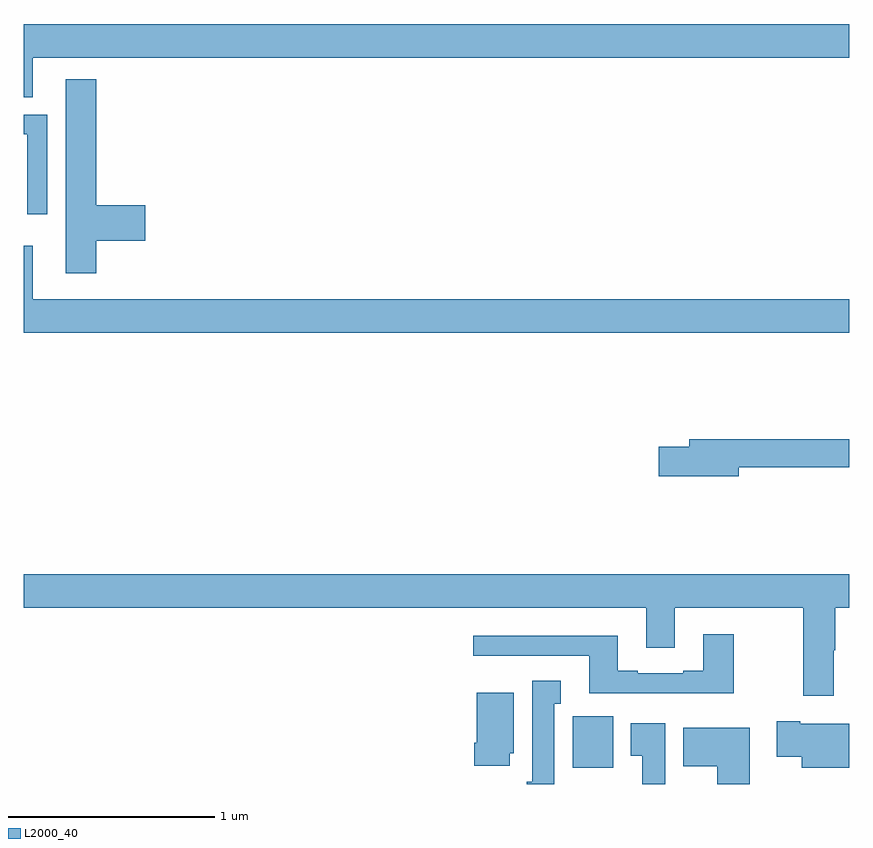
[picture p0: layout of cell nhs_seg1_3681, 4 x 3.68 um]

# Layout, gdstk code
import gdstk
lib = gdstk.Library(unit=1e-6, precision=1e-09)
def R(c, l, rs):  # rectangles x0, y0, x1, y1
    for r in rs: c.add(gdstk.rectangle(r[:2], r[2:], *l))
def P(c, l, *ps):  # polygons
    for p in ps: c.add(gdstk.Polygon(p, *l))
L2000_40 = (2000, 40)

nhs_seg1_3681 = lib.new_cell('nhs_seg1_3681')
R(nhs_seg1_3681, L2000_40, [(313.659,564.278,313.855,564.528)])
P(nhs_seg1_3681, L2000_40, [(311.044,567.716),(315,567.716),(315,567.88),(311,567.88),(311,567.526),(311.044,567.526)],
  [(311.351,566.831),(311.59,566.831),(311.59,567.002),(311.351,567.002),(311.351,567.613),(311.204,567.613),(311.204,566.673),(311.351,566.673)],
  [(311.115,567.441),(311,567.441),(311,567.345),(311.019,567.345),(311.019,566.958),(311.115,566.958)],
  [(315,566.548),(311.044,566.548),(311.044,566.806),(311,566.806),(311,566.384),(315,566.384)],
  [(314.464,565.732),(315,565.732),(315,565.868),(314.225,565.868),(314.225,565.832),(314.076,565.832),(314.076,565.69),(314.464,565.69)],
  [(314.923,564.848),(314.931,564.848),(314.931,565.052),(315,565.052),(315,565.216),(311,565.216),(311,565.052),(314.015,565.052),(314.015,564.858),(314.155,564.858),(314.155,565.052),(314.776,565.052),(314.776,564.627),(314.923,564.627)],
  [(314.439,564.925),(314.291,564.925),(314.291,564.748),(314.195,564.748),(314.195,564.735),(313.975,564.735),(313.975,564.748),(313.879,564.748),(313.879,564.916),(313.179,564.916),(313.179,564.819),(313.739,564.819),(313.739,564.638),(314.439,564.638)],
  [(313.57,564.587),(313.603,564.587),(313.603,564.7),(313.463,564.7),(313.463,564.21),(313.436,564.21),(313.436,564.199),(313.57,564.199)],
  [(313.354,564.348),(313.375,564.348),(313.375,564.64),(313.196,564.64),(313.196,564.4),(313.184,564.4),(313.184,564.288),(313.354,564.288)],
  [(315,564.49),(314.761,564.49),(314.761,564.503),(314.649,564.503),(314.649,564.332),(314.768,564.332),(314.768,564.278),(315,564.278)],
  [(314.107,564.493),(313.94,564.493),(313.94,564.337),(313.997,564.337),(313.997,564.199),(314.107,564.199)],
  [(314.518,564.472),(314.195,564.472),(314.195,564.284),(314.36,564.284),(314.36,564.199),(314.518,564.199)])

lib.write_gds('nhs_seg1_3681.gds')
